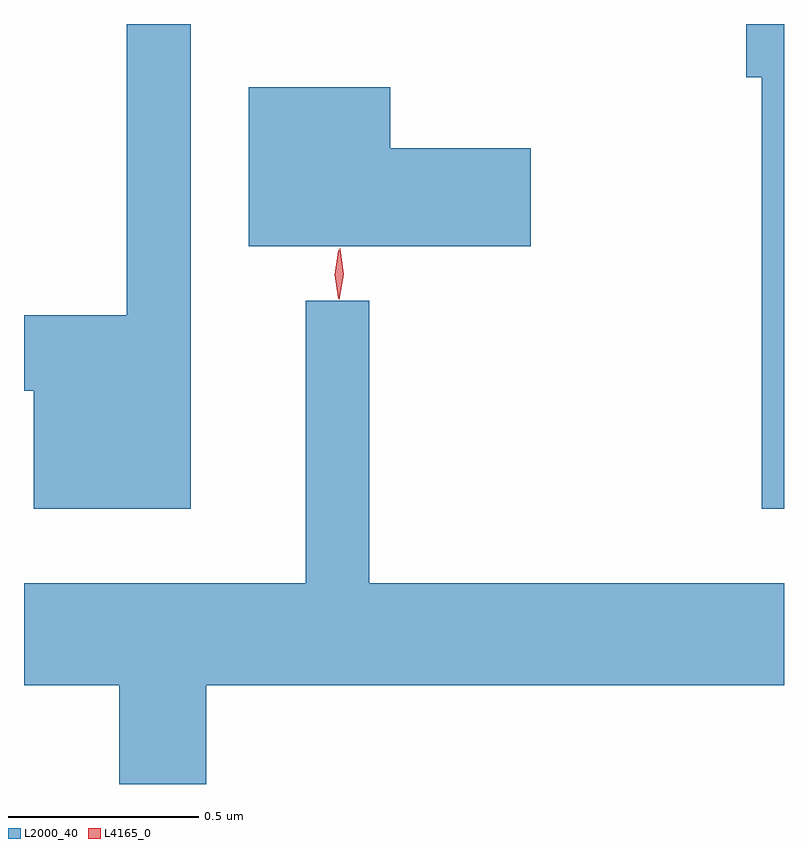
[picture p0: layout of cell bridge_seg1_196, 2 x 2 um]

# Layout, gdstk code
import gdstk
lib = gdstk.Library(unit=1e-6, precision=1e-09)
def P(c, l, *ps):  # polygons
    for p in ps: c.add(gdstk.Polygon(p, *l))
L2000_40 = (2000, 40)
L4165_0 = (4165, 0)

bridge_seg1_196 = lib.new_cell('bridge_seg1_196')
P(bridge_seg1_196, L2000_40, [(647.129,956.816),(646.961,956.816),(646.961,956.049),(646.69,956.049),(646.69,955.851),(646.716,955.851),(646.716,955.541),(647.129,955.541)],
  [(648.69,956.816),(648.591,956.816),(648.591,956.676),(648.631,956.676),(648.631,955.541),(648.69,955.541)],
  [(648.024,956.489),(647.654,956.489),(647.654,956.649),(647.281,956.649),(647.281,956.231),(648.024,956.231)],
  [(647.169,955.076),(648.69,955.076),(648.69,955.344),(647.599,955.344),(647.599,956.088),(647.431,956.088),(647.431,955.344),(646.69,955.344),(646.69,955.076),(646.941,955.076),(646.941,954.816),(647.169,954.816)])
P(bridge_seg1_196, L4165_0, [(647.518,956.093),(647.517,956.094),(647.508,956.156),(647.517,956.219),(647.518,956.22),(647.518,956.219),(647.528,956.156),(647.518,956.094)],
  [(647.519,956.09),(647.511,956.158),(647.521,956.225),(647.522,956.226),(647.522,956.225),(647.531,956.158),(647.52,956.09),(647.52,956.09)])

lib.write_gds('bridge_seg1_196.gds')
